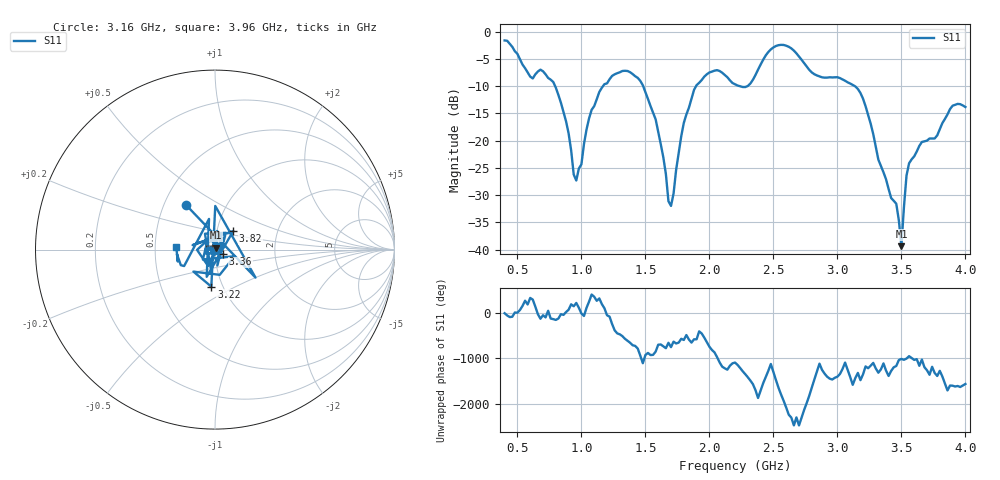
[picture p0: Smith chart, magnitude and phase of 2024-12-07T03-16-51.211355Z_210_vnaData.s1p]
!Created with skrf (http://scikit-rf.org).
# Hz S RI R 50.0
!freq ReS11 ImS11
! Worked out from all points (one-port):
!   181 points, 400 MHz to 4 GHz, reference 50 ohm
!   lowest |S11| = -39.4 dB at 3.5 GHz (marker M1), VSWR 1.02, Z = 50.4 + j1.01 ohm
!   |S11| at or under -10 dB: 795 MHz to 1.168 GHz (373.3 MHz wide, 38 % of centre); 1.483 GHz to 1.895 GHz (412.6 MHz wide, 24.4 % of centre); 3.137 GHz to end of sweep (the widest 3 of 4)
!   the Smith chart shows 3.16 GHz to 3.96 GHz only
!   S11 on the Smith chart (normalised r, x): 3.16 GHz: 0.64, +0.35; 3.22 GHz: 0.88, -0.38; 3.36 GHz: 1.09, -0.05; 3.82 GHz: 1.20, +0.25; 3.96 GHz: 0.64, +0.02
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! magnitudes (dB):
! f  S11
! 400 MHz  -1.6
! 600 MHz  -8.2
! 780 MHz  -9.2
! 860 MHz  -14.7
! 960 MHz  -27.3
! 1.08 GHz  -14.3
! 1.3 GHz  -7.4
! 1.48 GHz  -9.8
! 1.58 GHz  -16.1
! 1.7 GHz  -32.0
! 1.76 GHz  -22.2
! 1.9 GHz  -9.8
! 2.06 GHz  -7.0
! 2.2 GHz  -9.6
! 2.32 GHz  -9.5
! 2.5 GHz  -2.9
! 2.66 GHz  -3.5
! 3.1 GHz  -9.5
! 3.16 GHz  -10.5
! 3.22 GHz  -13.7
! 3.36 GHz  -25.8
! 3.46 GHz  -31.6
! 3.5 GHz  -39.4
! 3.54 GHz  -26.4
! 3.56 GHz  -24.2
! 3.82 GHz  -16.8
! 3.96 GHz  -13.3
! 4 GHz  -13.8
